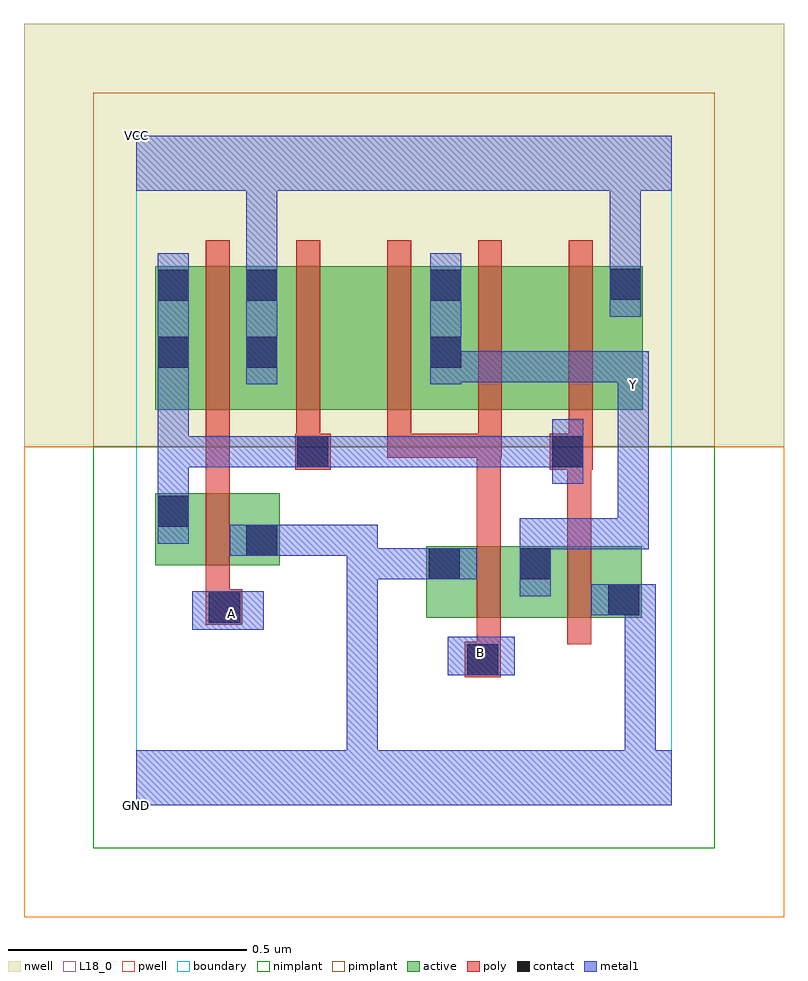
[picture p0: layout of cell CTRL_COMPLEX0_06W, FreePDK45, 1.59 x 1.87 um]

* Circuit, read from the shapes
.subckt CTRL_COMPLEX0_06W A B GND VCC Y
M1 GND A n1 VSUBS nfet w=0.15u l=0.05u
M2 Y B GND VSUBS nfet w=0.15u l=0.05u
M3 GND n1 Y VSUBS nfet w=0.15u l=0.05u
M4 VCC A n1 n2 pfet w=0.3u l=0.05u
M5 n3 n1 VCC n2 pfet w=0.3u l=0.05u
M6 Y B n3 n2 pfet w=0.3u l=0.05u
M7 n4 B Y n2 pfet w=0.3u l=0.05u
M8 VCC n1 n4 n2 pfet w=0.3u l=0.05u
.ends

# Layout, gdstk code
import gdstk
lib = gdstk.Library(unit=1e-6, precision=1e-09)
def R(c, l, rs):  # rectangles x0, y0, x1, y1
    for r in rs: c.add(gdstk.rectangle(r[:2], r[2:], *l))
def A(c, l, x, y, w, h, nx, ny, dx, dy):  # array of equal rectangles
    R(c, l, [(x+i*dx, y+j*dy, x+i*dx+w, y+j*dy+h) for i in range(nx) for j in range(ny)])
active = (1, 0)
pwell = (2, 0)
nwell = (3, 0)
nimplant = (4, 0)
pimplant = (5, 0)
poly = (9, 0)
contact = (10, 0)
metal1 = (11, 0)
L18_0 = (18, 0)
boundary = (235, 0)

ctrl_complex0_06w = lib.new_cell('CTRL_COMPLEX0_06W')
R(ctrl_complex0_06w, active, [(0.607,0.392,0.682,0.542), (0.607,0.392,0.872,0.542), (0.797,0.392,0.872,0.542), (0.797,0.392,1.057,0.542), (0.982,0.392,1.057,0.542), (0.04,0.502,0.115,0.652), (0.04,0.502,0.3,0.652), (0.225,0.502,0.3,0.652), (0.04,0.827,0.115,1.127), (0.04,0.827,0.3,1.127), (0.225,0.827,0.455,1.127), (0.225,0.827,0.3,1.125), (0.455,0.827,0.685,1.127), (0.61,0.827,0.835,1.127), (0.835,0.827,1.06,1.127), (0.985,0.827,1.06,1.127), (0.61,0.91,0.685,1.127)])
R(ctrl_complex0_06w, pwell, [(-0.235,-0.235,1.355,0.75)])
R(ctrl_complex0_06w, nwell, [(-0.235,0.75,1.355,1.635)])
R(ctrl_complex0_06w, nimplant, [(-0.09,-0.09,1.21,0.75)])
R(ctrl_complex0_06w, pimplant, [(-0.09,0.75,1.21,1.49)])
A(ctrl_complex0_06w, poly, 0.335, 0.727, 0.05, 0.095, 4, 1, 0.19, 0)
A(ctrl_complex0_06w, poly, 0.145, 0.772, 0.05, 0.41, 5, 1, 0.19, 0)
R(ctrl_complex0_06w, poly, [(0.687,0.267,0.762,0.342), (0.712,0.292,0.762,0.387), (0.712,0.337,0.762,0.597), (0.902,0.337,0.952,0.597), (0.145,0.377,0.222,0.452), (0.145,0.402,0.195,0.497), (0.145,0.447,0.195,0.707), (0.712,0.547,0.762,0.777), (0.902,0.547,0.952,0.752), (0.145,0.657,0.195,0.752), (0.145,0.702,0.195,0.752), (0.145,0.702,0.195,0.822), (0.332,0.702,0.407,0.777), (0.865,0.702,0.955,0.777), (0.525,0.727,0.575,0.777), (0.525,0.727,0.762,0.777), (0.712,0.727,0.762,0.777), (0.712,0.727,0.762,0.777), (0.712,0.727,0.765,0.777)])
R(ctrl_complex0_06w, contact, [(0.692,0.272,0.757,0.337), (0.152,0.382,0.217,0.447), (0.987,0.397,1.052,0.462), (0.612,0.472,0.677,0.537), (0.802,0.472,0.867,0.537), (0.23,0.522,0.295,0.587), (0.045,0.582,0.11,0.647), (0.337,0.707,0.402,0.772), (0.87,0.707,0.935,0.772), (0.045,0.915,0.11,0.98), (0.23,0.915,0.295,0.98), (0.615,0.915,0.68,0.98), (0.045,1.055,0.11,1.12), (0.23,1.055,0.295,1.12), (0.615,1.055,0.68,1.12), (0.99,1.057,1.055,1.122)])
R(ctrl_complex0_06w, metal1, [(0,0,1.12,0.115), (0.44,0.05,0.505,0.115), (0.44,0.05,0.505,0.115), (0.44,0.05,0.505,0.115), (0.44,0.05,0.505,0.115), (0.44,0.05,0.505,0.115), (0.44,0.05,0.505,0.115), (0.44,0.05,0.505,0.537), (1.022,0.05,1.087,0.115), (1.022,0.05,1.087,0.115), (1.022,0.05,1.087,0.115), (1.022,0.05,1.087,0.115), (1.022,0.05,1.087,0.115), (1.022,0.05,1.087,0.115), (1.022,0.05,1.087,0.462), (0.652,0.272,0.792,0.352), (0.117,0.367,0.267,0.447), (0.952,0.397,1.087,0.462), (0.802,0.437,0.867,0.572), (0.44,0.472,0.505,0.537), (0.44,0.472,0.505,0.537), (0.44,0.472,0.58,0.537), (0.44,0.472,0.505,0.587), (0.515,0.472,0.58,0.537), (0.515,0.472,0.642,0.537), (0.577,0.472,0.712,0.537), (0.802,0.507,0.867,0.572), (0.802,0.507,0.867,0.6), (0.195,0.522,0.33,0.587), (0.265,0.522,0.442,0.587), (0.377,0.522,0.442,0.587), (0.377,0.522,0.505,0.587), (0.802,0.535,1.072,0.6), (1.007,0.535,1.072,0.6), (1.007,0.535,1.072,0.877), (0.045,0.547,0.11,0.682), (0.045,0.617,0.11,0.772), (0.87,0.672,0.935,0.807), (0.045,0.707,0.11,0.772), (0.045,0.707,0.11,0.772), (0.045,0.707,0.11,0.772), (0.045,0.707,0.367,0.772), (0.045,0.707,0.11,0.945), (0.302,0.707,0.367,0.772), (0.302,0.707,0.367,0.772), (0.302,0.707,0.437,0.772), (0.372,0.707,0.505,0.772), (0.44,0.707,0.505,0.772), (0.44,0.707,0.58,0.772), (0.515,0.707,0.58,0.772), (0.515,0.707,0.66,0.772), (0.595,0.707,0.66,0.772), (0.595,0.707,0.717,0.772), (0.652,0.707,0.717,0.772), (0.652,0.707,0.817,0.772), (0.752,0.707,0.817,0.772), (0.752,0.707,0.935,0.772), (1.007,0.812,1.072,0.95), (0.045,0.88,0.11,1.155), (0.23,0.88,0.295,1.155), (0.615,0.88,0.68,1.155), (0.615,0.885,0.73,0.95), (0.665,0.885,0.73,0.95), (0.665,0.885,0.88,0.95), (0.815,0.885,0.88,0.95), (0.815,0.885,1.072,0.95), (1.007,0.885,1.072,0.95), (1.007,0.885,1.072,0.95), (1.007,0.885,1.072,0.95), (1.007,0.885,1.072,0.95), (0.99,1.022,1.055,1.157), (0.23,1.09,0.295,1.35), (0.99,1.092,1.055,1.35), (0,1.285,1.12,1.4), (0.23,1.285,0.295,1.35), (0.23,1.285,0.295,1.35), (0.99,1.285,1.055,1.35), (0.99,1.285,1.055,1.35)])
R(ctrl_complex0_06w, L18_0, [(0,0,1.12,0.115), (0.44,0.05,0.505,0.115), (0.44,0.05,0.505,0.115), (0.44,0.05,0.505,0.115), (0.44,0.05,0.505,0.115), (0.44,0.05,0.505,0.115), (0.44,0.05,0.505,0.115), (0.44,0.05,0.505,0.537), (1.022,0.05,1.087,0.115), (1.022,0.05,1.087,0.115), (1.022,0.05,1.087,0.115), (1.022,0.05,1.087,0.115), (1.022,0.05,1.087,0.115), (1.022,0.05,1.087,0.115), (1.022,0.05,1.087,0.462), (0.652,0.272,0.792,0.352), (0.687,0.287,0.752,0.352), (0.117,0.367,0.267,0.447), (0.167,0.367,0.232,0.432), (0.952,0.397,1.087,0.462), (0.802,0.437,0.867,0.572), (0.44,0.472,0.505,0.537), (0.44,0.472,0.505,0.537), (0.44,0.472,0.505,0.587), (0.44,0.472,0.58,0.537), (0.515,0.472,0.58,0.537), (0.515,0.472,0.642,0.537), (0.577,0.472,0.712,0.537), (0.802,0.507,0.867,0.572), (0.802,0.507,0.867,0.6), (0.195,0.522,0.33,0.587), (0.265,0.522,0.442,0.587), (0.377,0.522,0.442,0.587), (0.377,0.522,0.505,0.587), (0.802,0.535,1.072,0.6), (1.007,0.535,1.072,0.6), (1.007,0.535,1.072,0.877), (1.007,0.812,1.072,0.95), (1.007,0.847,1.072,0.912), (0.23,0.88,0.295,1.155), (0.615,0.88,0.68,1.155), (0.615,0.885,0.73,0.95), (0.665,0.885,0.73,0.95), (0.665,0.885,0.88,0.95), (0.815,0.885,0.88,0.95), (0.815,0.885,1.072,0.95), (1.007,0.885,1.072,0.95), (1.007,0.885,1.072,0.95), (1.007,0.885,1.072,0.95), (1.007,0.885,1.072,0.95), (0.99,1.022,1.055,1.157), (0.23,1.09,0.295,1.35), (0.99,1.092,1.055,1.35), (0,1.285,1.12,1.4), (0.23,1.285,0.295,1.35), (0.23,1.285,0.295,1.35), (0.99,1.285,1.055,1.35), (0.99,1.285,1.055,1.35)])
R(ctrl_complex0_06w, boundary, [(0,0,1.12,1.4)])
ctrl_complex0_06w.add(gdstk.Label('A', (0.2,0.4), layer=11, texttype=0))
ctrl_complex0_06w.add(gdstk.Label('B', (0.72,0.32), layer=11, texttype=0))
ctrl_complex0_06w.add(gdstk.Label('Y', (1.04,0.88), layer=11, texttype=0))
ctrl_complex0_06w.add(gdstk.Label('VCC', (0,1.4), layer=11, texttype=0))
ctrl_complex0_06w.add(gdstk.Label('GND', (0,0), layer=11, texttype=0))

lib.write_gds('CTRL_COMPLEX0_06W.gds')
